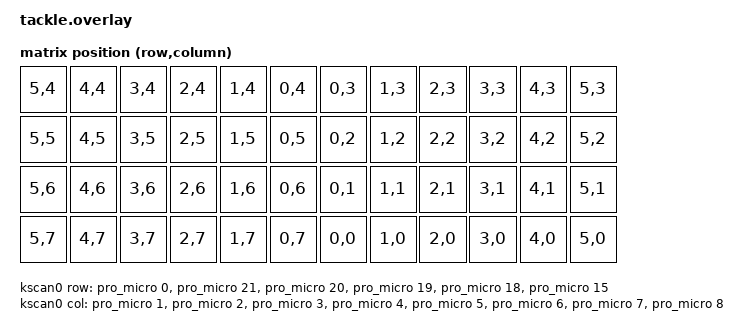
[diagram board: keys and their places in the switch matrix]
/*
 * Copyright (c) 2024 The ZMK Contributors
 *
 * SPDX-License-Identifier: MIT
 */

 #include <dt-bindings/zmk/matrix_transform.h>

/ {
    chosen {
        zmk,kscan = &kscan0;
        zmk,matrix_transform = &default_transform;
    };

    kscan0: kscan_0 {
        compatible = "zmk,kscan-gpio-matrix";
        label = "KSCAN";
        diode-direction = "col2row";

        col-gpios
            = <&pro_micro 1 GPIO_ACTIVE_HIGH>
            , <&pro_micro 2 GPIO_ACTIVE_HIGH>
            , <&pro_micro 3 GPIO_ACTIVE_HIGH>
            , <&pro_micro 4 GPIO_ACTIVE_HIGH>
            , <&pro_micro 5 GPIO_ACTIVE_HIGH>
            , <&pro_micro 6 GPIO_ACTIVE_HIGH>
            , <&pro_micro 7 GPIO_ACTIVE_HIGH>
            , <&pro_micro 8 GPIO_ACTIVE_HIGH>
            ;

        row-gpios
            = <&pro_micro 0 (GPIO_ACTIVE_HIGH | GPIO_PULL_DOWN)>
            , <&pro_micro 21 (GPIO_ACTIVE_HIGH | GPIO_PULL_DOWN)>
            , <&pro_micro 20 (GPIO_ACTIVE_HIGH | GPIO_PULL_DOWN)>
            , <&pro_micro 19 (GPIO_ACTIVE_HIGH | GPIO_PULL_DOWN)>
            , <&pro_micro 18 (GPIO_ACTIVE_HIGH | GPIO_PULL_DOWN)>
            , <&pro_micro 15 (GPIO_ACTIVE_HIGH | GPIO_PULL_DOWN)>
            ;
    };

    default_transform: keymap_transform_0 {
        compatible = "zmk,matrix-transform";
        columns = <12>;
        rows = <4>;
        map = <
          RC(5,4)  RC(4,4)  RC(3,4)  RC(2,4)  RC(1,4)  RC(0,4)  RC(0,3)  RC(1,3)  RC(2,3)  RC(3,3)  RC(4,3)  RC(5,3)
          RC(5,5)  RC(4,5)  RC(3,5)  RC(2,5)  RC(1,5)  RC(0,5)  RC(0,2)  RC(1,2)  RC(2,2)  RC(3,2)  RC(4,2)  RC(5,2)
          RC(5,6)  RC(4,6)  RC(3,6)  RC(2,6)  RC(1,6)  RC(0,6)  RC(0,1)  RC(1,1)  RC(2,1)  RC(3,1)  RC(4,1)  RC(5,1)
          RC(5,7)  RC(4,7)  RC(3,7)  RC(2,7)  RC(1,7)  RC(0,7)  RC(0,0)  RC(1,0)  RC(2,0)  RC(3,0)  RC(4,0)  RC(5,0)
        >;
    };
};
